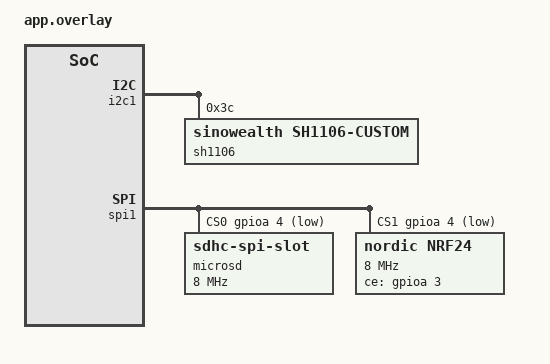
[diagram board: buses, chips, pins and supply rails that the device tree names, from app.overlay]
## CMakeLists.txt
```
# SPDX-License-Identifier: Apache-2.0

cmake_minimum_required(VERSION 3.20.0)

get_filename_component(OOT_MODULE_DIR "${CMAKE_CURRENT_LIST_DIR}/../.." REALPATH)
list(APPEND EXTRA_ZEPHYR_MODULES "${OOT_MODULE_DIR}")

find_package(Zephyr REQUIRED HINTS $ENV{ZEPHYR_BASE})
project(z_stm32f4ccu6)

target_sources(app PRIVATE src/main.c)
```

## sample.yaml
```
sample:
  name: STM32F401 OLED and sdFat32 demo
  description: Board-specific integration sample for the SH1106 and sdFat32 subsystems on STM32F401
tests:
  sample.oot.z_stm32f401ccu6:
    build_only: true
    platform_allow:
      - blackpill_f401cc
    tags:
      - display
      - filesystem
      - gpio
      - spi
```

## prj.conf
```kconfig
CONFIG_SERIAL=y
CONFIG_CONSOLE=y
CONFIG_UART_CONSOLE=y
CONFIG_CONSOLE_SUBSYS=y
CONFIG_CONSOLE_GETLINE=y
CONFIG_DISPLAY=y

#enable USB stack
CONFIG_USB_DEVICE_STACK=y
CONFIG_USB_DEVICE_PRODUCT="Surya's USB dongle"
CONFIG_USB_DEVICE_PID=0x0004
CONFIG_USB_DEVICE_VID=4440
CONFIG_USB_DEVICE_INITIALIZE_AT_BOOT=y

#custom defs
CONFIG_SD_DRV=y
CONFIG_SD_FAT32=y
CONFIG_OLED_SH1106=y
CONFIG_SH1106_GFX=y
CONFIG_NRF24_DRV=y
CONFIG_NRF24_BLE=y
CONFIG_LOG=y

CONFIG_DEBUG_THREAD_INFO=y
```

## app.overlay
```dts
&i2c1 {
    sh1106:sh1106@3c{
        compatible="sinowealth,sh1106-custom";
        status="okay";
        reg=<0x3c>;
    };
};

&spi1 {
    status = "okay";
    cs-gpios = <&gpioa 4 GPIO_ACTIVE_LOW> , <&gpioa 4 GPIO_ACTIVE_LOW>;

    microsd:microsd@0{
     compatible ="zephyr,sdhc-spi-slot";
     spi-max-frequency= <8000000>;
     reg = <0>;
     status="okay";
    };

    nrf24:nrf24@1{
        compatible="nordic,nrf24";
        spi-max-frequency=<8000000>;
        ce-gpios=<&gpioa 3 GPIO_ACTIVE_HIGH>;
        reg=<1>;
        status="okay";
    };
};
```

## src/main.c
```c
/*
 * Copyright (c) 2016 Intel Corporation
 *
 * SPDX-License-Identifier: Apache-2.0
 */

#include <zephyr/kernel.h>
#include <zephyr/device.h>
#include <zephyr/drivers/gpio.h>
#include <zephyr_oot/subsys/sh1106_gfx.h>
#include <zephyr_oot/subsys/nordic_logo.h>
#include <stddef.h>
#include <zephyr/console/console.h>
#include <zephyr_oot/subsys/nrf24_ble.h>
#include <zephyr_oot/drivers/nrf24_drv.h>
#include <zephyr_oot/subsys/sdFat32.h>

#define MY_STACK_SIZE 2048
#define MY_PRIORITY 2



K_SEM_DEFINE(sem, 0, 1);

const char *adv_name = "ZephyrBLE";
const uint8_t tx_address[5] = {0x01, 0x23, 0x45, 0x67, 0x89};
char tx_msg[32];

static ble_service_data_t service_data;
static ble_adv_config_t config;
uint8_t count;


const struct device *sh1106 = DEVICE_DT_GET(DT_NODELABEL(sh1106));
const struct device *nrf24 = DEVICE_DT_GET(DT_NODELABEL(nrf24));
/* 1000 msec = 1 sec */
#define SLEEP_TIME_MS 500

/* The devicetree node identifier for the "led0" alias. */
#define LED0_NODE DT_ALIAS(led0)

/*
 * A build error on this line means your board is unsupported.
 * See the sample documentation for information on how to fix this.
 */
static const struct gpio_dt_spec led = GPIO_DT_SPEC_GET(LED0_NODE, gpios);


int main(void)
{
	/*
	service_data.uuid = NRF_TEMPERATURE_SERVICE_UUID;
	service_data.data = count;
	config.ble_service_data = &service_data;
	config.flags = 0x05;
	config.adv_name = adv_name;

	if (!ble_begin(nrf24, &config))
	{
		printk("Ble init failed\n");
	}
	else
		printk("BLE init success");

	ble_set_mode(nrf24, BLE_MODE_ADVERTISE);
   */
  
	if (!sdFat32Init())
		printk("sdFat32 init failed\n");
	else
		printk("sdFat32 init success\n");
	k_msleep(3000);
	//listDirectory("/drivers");
	while (1)
	{

		/*
		if (ble_advertise(nrf24))
		{
			printk("Adv success!\n");
			service_data.data = count;
			count++;
		}
		else
			printk("Adv failed\n");
		
		*/
		
		k_sleep(K_MSEC(50));
	}

	return 0;
}

void myThread1(void *, void *, void *)
{

	if (!device_is_ready(sh1106))
	{
		printk("Failed to initialize sh1106 display\n");
		while (1)
			;
	}

	console_getline_init();

	oled_displayOn(sh1106);
	oled_clearDisplay(sh1106);
	oled_printString(sh1106, "Powered by Zephyr OS.", 0, 0, 6, false);

	oled_display(sh1106);
	k_msleep(2000);
	oled_clearDisplay(sh1106);
	oled_displayBmp(sh1106, logo);
	oled_display(sh1106);
	k_msleep(2000);
	oled_clearDisplay(sh1106);
	/*
	myFile file=pathExists("/drivers/Kconfig");
	char arr[15]="";
	for(int i=0;i<14;i++)
	   arr[i]=readByte(&file);
	oled_printString(sh1106,arr,0,16,6,false);
	oled_display(sh1106);
	*/
	while (1)
	{
		char* s = console_getline();
		// if (k_sem_take(&sem, K_USEC(10)) == 0)
		{
			oled_printLog(sh1106, s);
			oled_display(sh1106);
			printk(">>> %s",s);
			//listDirectory(s);
		}
		k_msleep(1);
	}
}

int myThread0(void *, void *, void *)
{
	int ret;
	if (!gpio_is_ready_dt(&led))
	{
		return 0;
	}

	ret = gpio_pin_configure_dt(&led, GPIO_OUTPUT_ACTIVE);
	if (ret < 0)
	{
		return 0;
	}

	while (1)
	{

		ret = gpio_pin_toggle_dt(&led);
		if (ret < 0)
			return 0;
		k_msleep(SLEEP_TIME_MS);
		// k_sem_give(&sem);
	}
	return 0;
}

K_THREAD_DEFINE(oled_tid, MY_STACK_SIZE,
				myThread1, NULL, NULL, NULL,
				MY_PRIORITY, 0, 0);

K_THREAD_DEFINE(my_tid, MY_STACK_SIZE,
				myThread0, NULL, NULL, NULL,
				MY_PRIORITY, 0, 0);
```
